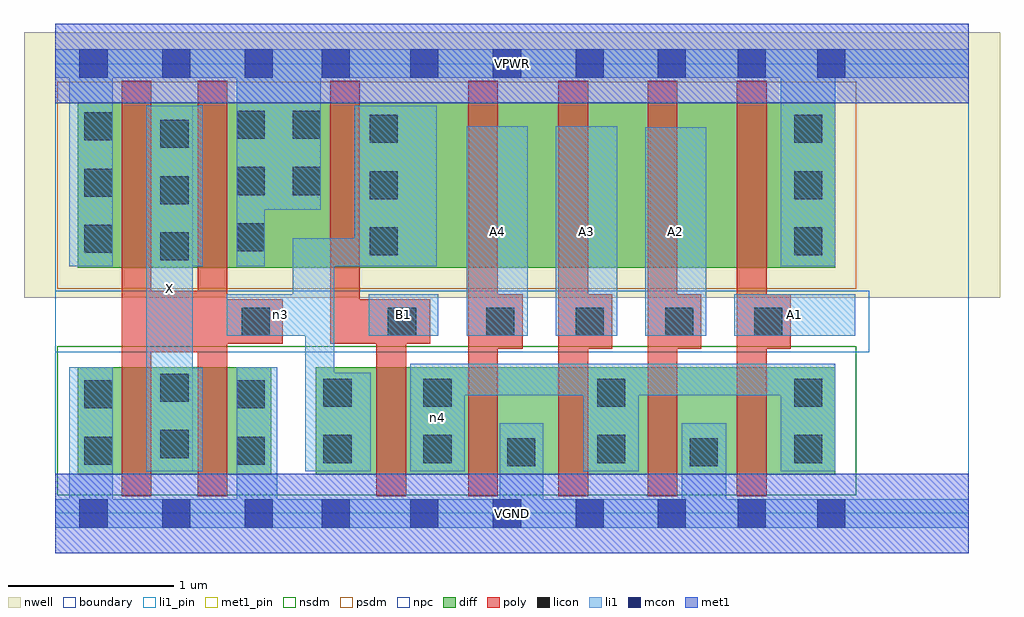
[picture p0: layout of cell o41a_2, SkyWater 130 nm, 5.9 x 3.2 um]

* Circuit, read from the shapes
.subckt o41a_2 A1 A2 A3 A4 B1 VGND VPWR X n3 n4
XM1 X n3 VGND VSUBS sky130_fd_pr__nfet_01v8 w=0.65 l=0.18 m=2
XM2 n4 B1 n3 VSUBS sky130_fd_pr__nfet_01v8 w=0.65 l=0.18
XM3 VGND A4 n4 VSUBS sky130_fd_pr__nfet_01v8 w=0.65 l=0.18
XM4 n4 A3 VGND VSUBS sky130_fd_pr__nfet_01v8 w=0.65 l=0.18
XM5 VGND A2 n4 VSUBS sky130_fd_pr__nfet_01v8 w=0.65 l=0.18
XM6 n4 A1 VGND VSUBS sky130_fd_pr__nfet_01v8 w=0.65 l=0.18
XM7 X n3 VPWR n1 sky130_fd_pr__pfet_01v8 w=1 l=0.18 m=2
XM8 n3 B1 VPWR n1 sky130_fd_pr__pfet_01v8 w=1 l=0.18
XM9 n2 A4 n3 n1 sky130_fd_pr__pfet_01v8 w=1 l=0.18
XM10 n5 A3 n2 n1 sky130_fd_pr__pfet_01v8 w=1 l=0.18
XM11 n6 A2 n5 n1 sky130_fd_pr__pfet_01v8 w=1 l=0.18
XM12 VPWR A1 n6 n1 sky130_fd_pr__pfet_01v8 w=1 l=0.18
.ends

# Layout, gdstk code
import gdstk
lib = gdstk.Library(unit=1e-6, precision=1e-09)
def R(c, l, rs):  # rectangles x0, y0, x1, y1
    for r in rs: c.add(gdstk.rectangle(r[:2], r[2:], *l))
def A(c, l, x, y, w, h, nx, ny, dx, dy):  # array of equal rectangles
    R(c, l, [(x+i*dx, y+j*dy, x+i*dx+w, y+j*dy+h) for i in range(nx) for j in range(ny)])
nwell = (64, 20)
diff = (65, 20)
poly = (66, 20)
licon = (66, 44)
li1_pin = (67, 16)
li1 = (67, 20)
mcon = (67, 44)
met1_pin = (68, 16)
met1 = (68, 20)
nsdm = (93, 44)
psdm = (94, 20)
npc = (95, 20)
boundary = (235, 4)

o41a_2 = lib.new_cell('o41a_2')
R(o41a_2, nwell, [(-0.19,1.305,5.71,2.91), (0,1.305,5.52,2.91)])
R(o41a_2, diff, [(0.135,0.235,1.305,0.885), (1.575,0.235,4.715,0.885), (0.135,1.485,4.715,2.485)])
A(o41a_2, poly, 3.04, 0.105, 0.18, 2.51, 3, 1, 0.54, 0)
A(o41a_2, poly, 3.04, 0.995, 0.325, 0.33, 3, 1, 0.54, 0)
R(o41a_2, poly, [(0.4,0.105,0.58,2.615), (0.86,0.105,1.04,2.615), (1.94,0.105,2.12,1.295), (2.495,0.105,2.675,2.615), (0.4,0.975,1.04,1.345), (2.495,0.995,2.825,1.325), (0.4,1.025,1.375,1.295), (1.66,1.025,1.84,2.615), (1.66,1.025,2.265,1.295)])
A(o41a_2, licon, 2.605, 1.075, 0.17, 0.17, 4, 1, 0.54, 0)
A(o41a_2, licon, 0.635, 1.53, 0.17, 0.17, 1, 3, 0, 0.34)
A(o41a_2, licon, 1.9, 1.56, 0.17, 0.17, 1, 3, 0, 0.34)
A(o41a_2, licon, 4.465, 1.56, 0.17, 0.17, 1, 3, 0, 0.34)
A(o41a_2, licon, 0.175, 1.575, 0.17, 0.17, 1, 3, 0, 0.34)
A(o41a_2, licon, 1.095, 1.585, 0.17, 0.17, 1, 3, 0, 0.34)
R(o41a_2, licon, [(2.73,0.285,2.9,0.455), (3.835,0.285,4.005,0.455), (0.175,0.295,0.345,0.465), (1.095,0.295,1.265,0.465), (1.62,0.305,1.79,0.475), (2.225,0.305,2.395,0.475), (3.275,0.305,3.445,0.475), (4.465,0.305,4.635,0.475), (0.635,0.335,0.805,0.505), (0.175,0.635,0.345,0.805), (1.095,0.635,1.265,0.805), (1.62,0.645,1.79,0.815), (2.225,0.645,2.395,0.815), (3.275,0.645,3.445,0.815), (4.465,0.645,4.635,0.815), (0.635,0.675,0.805,0.845), (1.125,1.075,1.295,1.245), (2.01,1.075,2.18,1.245), (1.435,1.925,1.605,2.095), (1.435,2.265,1.605,2.435)])
R(o41a_2, li1_pin, [(0.55,0.255,0.83,2.465), (1.895,1.075,2.315,1.325), (2.485,1.075,2.855,2.34), (3.025,1.075,3.395,2.34), (3.565,1.075,3.935,2.335), (4.105,1.075,4.835,1.325)])
R(o41a_2, li1, [(0,-0.085,5.52,0.085), (0.085,-0.085,0.345,0.885), (1.095,-0.085,1.34,0.885), (2.685,-0.085,2.95,0.545), (3.785,-0.085,4.055,0.545), (0.55,0.255,0.83,2.465), (0.55,0.255,0.89,0.88), (1.51,0.255,1.685,1.665), (1.51,0.255,1.905,0.85), (2.145,0.255,2.475,0.905), (3.19,0.255,3.525,0.905), (4.385,0.255,4.715,0.905), (2.145,0.715,4.715,0.905), (1.035,1.075,1.685,1.325), (1.435,1.075,1.685,1.665), (1.895,1.075,2.315,1.325), (2.485,1.075,2.855,2.34), (3.025,1.075,3.395,2.34), (3.565,1.075,3.935,2.335), (4.105,1.075,4.835,1.325), (0.085,1.495,0.345,2.805), (0.55,1.495,0.89,2.465), (1.095,1.495,1.265,2.805), (1.435,1.495,2.305,1.665), (1.81,1.495,2.305,2.465), (4.385,1.495,4.715,2.805), (1.095,1.835,1.605,2.805), (0,2.635,5.52,2.805)])
A(o41a_2, mcon, 0.145, -0.085, 0.17, 0.17, 3, 2, 0.5, 2.72)
A(o41a_2, mcon, 2.145, -0.085, 0.17, 0.17, 3, 2, 0.5, 2.72)
R(o41a_2, mcon, [(1.61,-0.085,1.78,0.085), (3.64,-0.085,3.81,0.085), (4.125,-0.085,4.295,0.085), (4.605,-0.085,4.775,0.085), (1.61,2.635,1.78,2.805), (3.64,2.635,3.81,2.805), (4.125,2.635,4.295,2.805), (4.605,2.635,4.775,2.805)])
R(o41a_2, met1_pin, [(0,-0.24,5.52,0.24), (0,2.48,5.52,2.96)])
R(o41a_2, met1, [(0,-0.24,5.52,0.24), (0,2.48,5.52,2.96)])
R(o41a_2, nsdm, [(0.01,0.11,4.84,1.01)])
R(o41a_2, psdm, [(0.01,1.36,4.84,2.61)])
R(o41a_2, npc, [(0,0.975,4.92,1.345)])
R(o41a_2, boundary, [(0,0,5.52,2.72)])
o41a_2.add(gdstk.Label('A1', (4.47,1.2), layer=67, texttype=5))
o41a_2.add(gdstk.Label('A2', (3.75,1.705), layer=67, texttype=5))
o41a_2.add(gdstk.Label('A3', (3.21,1.707), layer=67, texttype=5))
o41a_2.add(gdstk.Label('A4', (2.67,1.707), layer=67, texttype=5))
o41a_2.add(gdstk.Label('B1', (2.105,1.2), layer=67, texttype=5))
o41a_2.add(gdstk.Label('X', (0.69,1.36), layer=67, texttype=5))
o41a_2.add(gdstk.Label('n4', (2.31,0.58), layer=67, texttype=5))
o41a_2.add(gdstk.Label('n3', (1.36,1.2), layer=67, texttype=5))
o41a_2.add(gdstk.Label('VPWR', (2.76,2.72), layer=68, texttype=5))
o41a_2.add(gdstk.Label('VGND', (2.76,0), layer=68, texttype=5))
o41a_2.add(gdstk.Label('A1', (4.47,1.2), layer=67, texttype=16))
o41a_2.add(gdstk.Label('A2', (3.75,1.705), layer=67, texttype=16))
o41a_2.add(gdstk.Label('A3', (3.21,1.707), layer=67, texttype=16))
o41a_2.add(gdstk.Label('A4', (2.67,1.707), layer=67, texttype=16))
o41a_2.add(gdstk.Label('B1', (2.105,1.2), layer=67, texttype=16))
o41a_2.add(gdstk.Label('X', (0.69,1.36), layer=67, texttype=16))
o41a_2.add(gdstk.Label('VPWR', (2.76,2.72), layer=68, texttype=16))
o41a_2.add(gdstk.Label('VGND', (2.76,0), layer=68, texttype=16))

lib.write_gds('o41a_2.gds')
